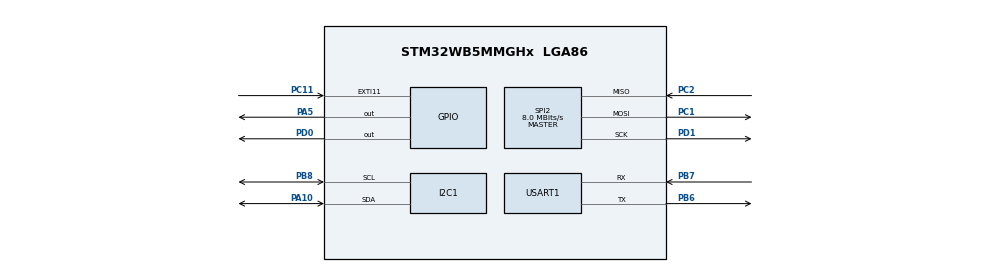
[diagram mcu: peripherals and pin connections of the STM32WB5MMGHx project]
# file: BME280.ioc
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I2C1.Timing=0x10B17DB5
Mcu.Family=STM32WB
Mcu.Name=STM32WB5MMGHx
Mcu.Package=LGA86
NVIC.PriorityGroup=NVIC_PRIORITYGROUP_4
PA10.Mode=I2C
PA10.Signal=I2C1_SDA
PA13.Mode=Serial_Wire
PA13.Signal=SYS_JTMS-SWDIO
PA14.Mode=Serial_Wire
PA14.Signal=SYS_JTCK-SWCLK
PA5.Signal=GPIO_Output
PB6.Mode=Asynchronous
PB6.Signal=USART1_TX
PB7.Mode=Asynchronous
PB7.Signal=USART1_RX
PB8.Mode=I2C
PB8.Signal=I2C1_SCL
PC1.Mode=Full_Duplex_Master
PC1.Signal=SPI2_MOSI
PC11.Signal=GPXTI11
PC2.Mode=Full_Duplex_Master
PC2.Signal=SPI2_MISO
PD0.Signal=GPIO_Output
PD1.Mode=Full_Duplex_Master
PD1.Signal=SPI2_SCK
ProjectManager.HeapSize=0x200
ProjectManager.StackSize=0x400
ProjectManager.TargetToolchain=STM32CubeIDE
RCC.ADCFreq_Value=48000000
RCC.AHB2CLKDivider=RCC_SYSCLK_DIV2
RCC.AHBFreq_Value=64000000
RCC.APB1Freq_Value=64000000
RCC.APB1TimFreq_Value=64000000
RCC.APB2Freq_Value=64000000
RCC.APB2TimFreq_Value=64000000
RCC.APB3Freq_Value=16000000
RCC.Cortex2_Div=SYSTICK_CLKSOURCE_HCLK_DIV8
RCC.CortexFreq_Value=64000000
RCC.HCLKFreq_Value=64000000
RCC.HSE_VALUE=32000000
RCC.HSI48_VALUE=48000000
RCC.HSI_VALUE=16000000
RCC.PLLN=32
RCC.PLLSAI1N=24
RCC.SYSCLKFreq_VALUE=64000000
RCC.SYSCLKSource=RCC_SYSCLKSOURCE_PLLCLK
RCC.USBFreq_Value=48000000
RCC.VCOOutputFreq_Value=128000000
SPI2.BaudRatePrescaler=SPI_BAUDRATEPRESCALER_8
SPI2.CalculateBaudRate=8.0 MBits/s
SPI2.DataSize=SPI_DATASIZE_8BIT
SPI2.Direction=SPI_DIRECTION_2LINES
SPI2.Mode=SPI_MODE_MASTER
SPI2.VirtualType=VM_MASTER
USART1.VirtualMode-Asynchronous=VM_ASYNC
VP_MEMORYMAP_VS_MEMORYMAP.Mode=CurAppReg
board=STM32WB5MM-DK

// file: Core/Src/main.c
/* USER CODE BEGIN Header */
/**
  ******************************************************************************
  * @file           : main.c
  * @brief          : Main program body
  ******************************************************************************
  * @attention
  *
  * Copyright (c) 2025 STMicroelectronics.
  * All rights reserved.
  *
  * This software is licensed under terms that can be found in the LICENSE file
  * in the root directory of this software component.
  * If no LICENSE file comes with this software, it is provided AS-IS.
  *
  ******************************************************************************
  */
/* USER CODE END Header */
#include "main.h"

/* USER CODE BEGIN Includes */
#include "bme280.h"  // Include the new BMP280 header file
#include "rfm95.h"
//#include "lorawan.h"

#include <stdio.h>
#include <stdint.h>
#include <string.h>

/* USER CODE END Includes */

/* USER CODE BEGIN PD */

//Registers store the temperature value (MSB, LSB, XLSB) - Data registers, read only.
//Without filter, resolution depends on osrs_t else it is always 20 bits
#define temp_xlsb 0xFC //Contains the XLSB part ut[3:0] of the raw temperature measurement output data, depends on pressure resolution
#define temp_lsb 0xFB //Contains the LSB part ut[11:4] of the raw temperature measurement output data
#define temp_msb 0xFA //Contains the MSB part ut[19:12] of the raw temperature measurement output data

//Without filter, resolution depends on osrs_p else it is always 20 bits
#define press_xslb 0xF9 //Contains the XLSB part up[3:0] of the raw pressure measurement output data, depends on temperature resolution
#define press_lsb 0xF8 //Contains the LSB part up[11:4] of the raw pressure measurement output data
#define press_msb 0xF7 //Contains the MSB part up[19:12] of the raw pressure measurement output data

//#define hum_xslb 0xF9
#define hum_lsb 0xFE //Contains the LSB part uh[7:0] of the raw humidity measurement output data
#define hum_msb 0xFD //Contains the MSB part uh[15:8] of the raw humidity measurement output data

#define config 0xF5 //Sets the rate, filter and interface options of the device, read/write except in bit1 does not change (reserved)
#define ctrl_meas 0xF4  //Sets the pressure and temperature data acquisition options on the device, read/write

#define status 0xF3 //Contains two bits that indicate status of the device, read only
#define reset 0xE0 //Contains soft reset word reset[7:0], write only
#define id 0xD0 //Chip identification number chip_id[0x60], read only

//Calibration data registers (read only) which store the factory calibration data for calculating the final value of pressure and temperature.
#define cal25 0xA1
#define cal24 0xA0
#define cal23 0x9F
#define cal22 0x9E
#define cal21 0x9D
#define cal20 0x9C
#define cal19 0x9B
#define cal18 0x9A
#define cal17 0x99
#define cal16 0x98
#define cal15 0x97
#define cal14 0x96
#define cal13 0x95
#define cal12 0x94
#define cal11 0x93
#define cal10 0x92
#define cal09 0x91
#define cal08 0x90
#define cal07 0x8F
#define cal06 0x8E
#define cal05 0x8D
#define cal04 0x8C
#define cal03 0x8B
#define cal02 0x8A
#define cal01 0x89
#define cal00 0x88
/* USER CODE END PD */

I2C_HandleTypeDef hi2c1;

SPI_HandleTypeDef hspi2;

UART_HandleTypeDef huart1;

/* USER CODE BEGIN PV */
uint32_t devAddr = 0x0154780C;

uint8_t nwkSKey[16] = { 0xE3, 0xB0, 0x39, 0x08, 0xEE, 0xC6, 0xEA, 0x53,
                        0x1A, 0xF1, 0x0A, 0x8B, 0x8B, 0xD6, 0x34, 0x91 };

uint8_t appSKey[16] = { 0xC1, 0xD8, 0xCF, 0x67, 0x74, 0xC4, 0x99, 0x5F,
                        0xF6, 0x54, 0x50, 0x27, 0x81, 0xBD, 0xD4, 0x12 };

uint32_t frameCounter = 0;

/* USER CODE END PV */

void SystemClock_Config(void);
void PeriphCommonClock_Config(void);
static void MX_GPIO_Init(void);
static void MX_I2C1_Init(void);
static void MX_USART1_UART_Init(void);
static void MX_SPI2_Init(void);

int main(void)
{

  /* MCU Configuration--------------------------------------------------------*/

  /* Reset of all peripherals, Initializes the Flash interface and the Systick. */
  HAL_Init();

  /* Configure the system clock */
  SystemClock_Config();

  /* Configure the peripherals common clocks */
  PeriphCommonClock_Config();

  /* Initialize all configured peripherals */
  MX_GPIO_Init();
  MX_I2C1_Init();
  MX_USART1_UART_Init();
  MX_SPI2_Init();
  /* USER CODE BEGIN 2 */

  //RFM95_Reset();  // Reset module first
  HAL_Delay(200); // Stabilize
  RFM95_Reset();
  RFM95_Init(); // Init LoRa
  RFM95_SetFrequency(868100000); // Set Frequency for Europe
  RFM95_SetTxPower(14); // Max power (adjust if needed)

  // Enable interrupts (if needed for DIO0 or other IRQ lines)
  __enable_irq();

  /* USER CODE END 2 */

  /* Infinite loop */
  /* USER CODE BEGIN WHILE */
  //uint8_t chipID = 0;

  //Writes configuration values to the ctrl_meas register, setting the measurement mode
  uint8_t BMP280_Config[2]={0xB3,0xA0};
  HAL_I2C_Mem_Write(&hi2c1, DEVICE_ADDRESS_L,ctrl_meas,1,BMP280_Config,2,0x10000);

  /* Read Calibration Data */
  read_calibration_data(&hi2c1);

  // Initialize LoRaWAN frame counter (if using ABP)
  frameCounter = 0;

  // Debug print to UART
  char startMsg[] = "System Initialized. Starting sensor + LoRaWAN...\r\n";
  HAL_UART_Transmit(&huart1, (uint8_t*)startMsg, strlen(startMsg), 100);

  /* USER CODE BEGIN WHILE */
  while (1)
  {

    /* USER CODE END WHILE */

    /* USER CODE BEGIN 3 */

      HAL_Delay(1000);  // Update data every 1 second

      // Read Raw Temperature
      uint8_t temp_data[3], press_data[3], hum_data[2];

      unsigned char temp_reg = 0xFA;
      unsigned char press_reg = 0xF7;
      unsigned char hum_reg = 0xFD;

      // Read Raw temperature
      HAL_I2C_Master_Transmit(&hi2c1, DEVICE_ADDRESS_L, &temp_reg, 1, 500);
      HAL_I2C_Master_Receive(&hi2c1, DEVICE_ADDRESS_L | 0x01, temp_data, 3, 500);
      // Read Raw Pressure
      HAL_I2C_Master_Transmit(&hi2c1, DEVICE_ADDRESS_L, &press_reg, 1, 500);
      HAL_I2C_Master_Receive(&hi2c1, DEVICE_ADDRESS_L | 0x01, press_data, 3, 500);
      // Read Raw Humidity
      HAL_I2C_Master_Transmit(&hi2c1, DEVICE_ADDRESS_L, &hum_reg, 1, 500);
      HAL_I2C_Master_Receive(&hi2c1, DEVICE_ADDRESS_L | 0x01, hum_data, 2, 500);

      // Convert raw data (20-bit value)
      int32_t raw_temp = ((int32_t)temp_data[0] << 12) | ((int32_t)temp_data[1] << 4) | (temp_data[2] >> 4);
      int32_t raw_press = ((int32_t)press_data[0] << 12) | ((int32_t)press_data[1] << 4) | (press_data[2] >> 4);
      int32_t raw_hum = ((int32_t)hum_data[0] << 8) | hum_data[1];

      float temp = compensate_temperature(raw_temp);
      float pressure = compensate_pressure(raw_press);
      float humidity = compensate_humidity(raw_hum);

      // Format data for LoRaWAN (scale and pack)
      int16_t temp_int = (int16_t)(temp * 100);
      uint16_t hum_int = (uint16_t)(humidity * 100);
      uint16_t press_int = (uint16_t)(pressure * 10);

      uint8_t payload[6];
      payload[0] = (temp_int >> 8) & 0xFF;
      payload[1] = temp_int & 0xFF;
      payload[2] = (hum_int >> 8) & 0xFF;
      payload[3] = hum_int & 0xFF;
      payload[4] = (press_int >> 8) & 0xFF;
      payload[5] = press_int & 0xFF;

      // Debug print
      char buffer[128];
      sprintf(buffer, "T: %.2f C, H: %.2f %%, P: %.2f hPa\r\n", temp, humidity, pressure);
      HAL_UART_Transmit(&huart1, (uint8_t*)buffer, strlen(buffer), 100);

      // Create and send LoRaWAN packet
      uint8_t packet[64];
      frameCounter++;
      uint8_t packet_len = LoRaWAN_CreatePacket_ABP(devAddr, nwkSKey, appSKey, payload, sizeof(payload), packet, frameCounter);

      RFM95_Send(packet, packet_len);
      HAL_UART_Transmit(&huart1, (uint8_t *)"Packet Sent\r\n", strlen("Packet Sent\r\n"), 100);
  }

  /* USER CODE END 3 */
}

void SystemClock_Config(void)
{
  RCC_OscInitTypeDef RCC_OscInitStruct = {0};
  RCC_ClkInitTypeDef RCC_ClkInitStruct = {0};

  /** Configure the main internal regulator output voltage
  */
  __HAL_PWR_VOLTAGESCALING_CONFIG(PWR_REGULATOR_VOLTAGE_SCALE1);

  /** Initializes the RCC Oscillators according to the specified parameters
  * in the RCC_OscInitTypeDef structure.
  */
  RCC_OscInitStruct.OscillatorType = RCC_OSCILLATORTYPE_HSI|RCC_OSCILLATORTYPE_MSI;
  RCC_OscInitStruct.HSIState = RCC_HSI_ON;
  RCC_OscInitStruct.MSIState = RCC_MSI_ON;
  RCC_OscInitStruct.HSICalibrationValue = RCC_HSICALIBRATION_DEFAULT;
  RCC_OscInitStruct.MSICalibrationValue = RCC_MSICALIBRATION_DEFAULT;
  RCC_OscInitStruct.MSIClockRange = RCC_MSIRANGE_6;
  RCC_OscInitStruct.PLL.PLLState = RCC_PLL_ON;
  RCC_OscInitStruct.PLL.PLLSource = RCC_PLLSOURCE_MSI;
  RCC_OscInitStruct.PLL.PLLM = RCC_PLLM_DIV1;
  RCC_OscInitStruct.PLL.PLLN = 32;
  RCC_OscInitStruct.PLL.PLLP = RCC_PLLP_DIV2;
  RCC_OscInitStruct.PLL.PLLR = RCC_PLLR_DIV2;
  RCC_OscInitStruct.PLL.PLLQ = RCC_PLLQ_DIV2;
  if (HAL_RCC_OscConfig(&RCC_OscInitStruct) != HAL_OK)
  {
    Error_Handler();
  }

  /** Configure the SYSCLKSource, HCLK, PCLK1 and PCLK2 clocks dividers
  */
  RCC_ClkInitStruct.ClockType = RCC_CLOCKTYPE_HCLK4|RCC_CLOCKTYPE_HCLK2
                              |RCC_CLOCKTYPE_HCLK|RCC_CLOCKTYPE_SYSCLK
                              |RCC_CLOCKTYPE_PCLK1|RCC_CLOCKTYPE_PCLK2;
  RCC_ClkInitStruct.SYSCLKSource = RCC_SYSCLKSOURCE_PLLCLK;
  RCC_ClkInitStruct.AHBCLKDivider = RCC_SYSCLK_DIV1;
  RCC_ClkInitStruct.APB1CLKDivider = RCC_HCLK_DIV1;
  RCC_ClkInitStruct.APB2CLKDivider = RCC_HCLK_DIV1;
  RCC_ClkInitStruct.AHBCLK2Divider = RCC_SYSCLK_DIV2;
  RCC_ClkInitStruct.AHBCLK4Divider = RCC_SYSCLK_DIV1;

  if (HAL_RCC_ClockConfig(&RCC_ClkInitStruct, FLASH_LATENCY_3) != HAL_OK)
  {
    Error_Handler();
  }
}

void PeriphCommonClock_Config(void)
{
  RCC_PeriphCLKInitTypeDef PeriphClkInitStruct = {0};

  /** Initializes the peripherals clock
  */
  PeriphClkInitStruct.PeriphClockSelection = RCC_PERIPHCLK_SMPS;
  PeriphClkInitStruct.SmpsClockSelection = RCC_SMPSCLKSOURCE_HSI;
  PeriphClkInitStruct.SmpsDivSelection = RCC_SMPSCLKDIV_RANGE1;

  if (HAL_RCCEx_PeriphCLKConfig(&PeriphClkInitStruct) != HAL_OK)
  {
    Error_Handler();
  }
}

static void MX_I2C1_Init(void)
{

  hi2c1.Instance = I2C1;
  hi2c1.Init.Timing = 0x10B17DB5;
  hi2c1.Init.OwnAddress1 = 0;
  hi2c1.Init.AddressingMode = I2C_ADDRESSINGMODE_7BIT;
  hi2c1.Init.DualAddressMode = I2C_DUALADDRESS_DISABLE;
  hi2c1.Init.OwnAddress2 = 0;
  hi2c1.Init.OwnAddress2Masks = I2C_OA2_NOMASK;
  hi2c1.Init.GeneralCallMode = I2C_GENERALCALL_DISABLE;
  hi2c1.Init.NoStretchMode = I2C_NOSTRETCH_DISABLE;
  if (HAL_I2C_Init(&hi2c1) != HAL_OK)
  {
    Error_Handler();
  }

  /** Configure Analogue filter
  */
  if (HAL_I2CEx_ConfigAnalogFilter(&hi2c1, I2C_ANALOGFILTER_ENABLE) != HAL_OK)
  {
    Error_Handler();
  }

  /** Configure Digital filter
  */
  if (HAL_I2CEx_ConfigDigitalFilter(&hi2c1, 0) != HAL_OK)
  {
    Error_Handler();
  }

}

static void MX_SPI2_Init(void)
{

  /* SPI2 parameter configuration*/
  hspi2.Instance = SPI2;
  hspi2.Init.Mode = SPI_MODE_MASTER;
  hspi2.Init.Direction = SPI_DIRECTION_2LINES;
  hspi2.Init.DataSize = SPI_DATASIZE_8BIT;
  hspi2.Init.CLKPolarity = SPI_POLARITY_LOW;
  hspi2.Init.CLKPhase = SPI_PHASE_1EDGE;
  hspi2.Init.NSS = SPI_NSS_SOFT;
  hspi2.Init.BaudRatePrescaler = SPI_BAUDRATEPRESCALER_8;
  hspi2.Init.FirstBit = SPI_FIRSTBIT_MSB;
  hspi2.Init.TIMode = SPI_TIMODE_DISABLE;
  hspi2.Init.CRCCalculation = SPI_CRCCALCULATION_DISABLE;
  hspi2.Init.CRCPolynomial = 7;
  hspi2.Init.CRCLength = SPI_CRC_LENGTH_DATASIZE;
  hspi2.Init.NSSPMode = SPI_NSS_PULSE_ENABLE;
  if (HAL_SPI_Init(&hspi2) != HAL_OK)
  {
    Error_Handler();
  }

}

static void MX_USART1_UART_Init(void)
{

  huart1.Instance = USART1;
  huart1.Init.BaudRate = 115200;
  huart1.Init.WordLength = UART_WORDLENGTH_8B;
  huart1.Init.StopBits = UART_STOPBITS_1;
  huart1.Init.Parity = UART_PARITY_NONE;
  huart1.Init.Mode = UART_MODE_TX_RX;
  huart1.Init.HwFlowCtl = UART_HWCONTROL_NONE;
  huart1.Init.OverSampling = UART_OVERSAMPLING_16;
  huart1.Init.OneBitSampling = UART_ONE_BIT_SAMPLE_DISABLE;
  huart1.Init.ClockPrescaler = UART_PRESCALER_DIV1;
  huart1.AdvancedInit.AdvFeatureInit = UART_ADVFEATURE_NO_INIT;
  if (HAL_UART_Init(&huart1) != HAL_OK)
  {
    Error_Handler();
  }
  if (HAL_UARTEx_SetTxFifoThreshold(&huart1, UART_TXFIFO_THRESHOLD_1_8) != HAL_OK)
  {
    Error_Handler();
  }
  if (HAL_UARTEx_SetRxFifoThreshold(&huart1, UART_RXFIFO_THRESHOLD_1_8) != HAL_OK)
  {
    Error_Handler();
  }
  if (HAL_UARTEx_DisableFifoMode(&huart1) != HAL_OK)
  {
    Error_Handler();
  }

}

static void MX_GPIO_Init(void)
{
  GPIO_InitTypeDef GPIO_InitStruct = {0};

  /* GPIO Ports Clock Enable */
  __HAL_RCC_GPIOC_CLK_ENABLE();
  __HAL_RCC_GPIOB_CLK_ENABLE();
  __HAL_RCC_GPIOA_CLK_ENABLE();
  __HAL_RCC_GPIOD_CLK_ENABLE();

  /*Configure GPIO pin Output Level */
  HAL_GPIO_WritePin(GPIOD, GPIO_PIN_0, GPIO_PIN_RESET);

  /*Configure GPIO pin Output Level */
  HAL_GPIO_WritePin(GPIOA, GPIO_PIN_5, GPIO_PIN_RESET);

  /*Configure GPIO pin : PC11 */
  GPIO_InitStruct.Pin = GPIO_PIN_11;
  GPIO_InitStruct.Mode = GPIO_MODE_IT_RISING;
  GPIO_InitStruct.Pull = GPIO_NOPULL;
  HAL_GPIO_Init(GPIOC, &GPIO_InitStruct);

  /*Configure GPIO pin : PD0 */
  GPIO_InitStruct.Pin = GPIO_PIN_0;
  GPIO_InitStruct.Mode = GPIO_MODE_OUTPUT_PP;
  GPIO_InitStruct.Pull = GPIO_NOPULL;
  GPIO_InitStruct.Speed = GPIO_SPEED_FREQ_LOW;
  HAL_GPIO_Init(GPIOD, &GPIO_InitStruct);

  /*Configure GPIO pin : PA5 */
  GPIO_InitStruct.Pin = GPIO_PIN_5;
  GPIO_InitStruct.Mode = GPIO_MODE_OUTPUT_PP;
  GPIO_InitStruct.Pull = GPIO_NOPULL;
  GPIO_InitStruct.Speed = GPIO_SPEED_FREQ_LOW;
  HAL_GPIO_Init(GPIOA, &GPIO_InitStruct);

}

/* USER CODE BEGIN 4 */

// This function gets called automatically when an EXTI interrupt occurs
void HAL_GPIO_EXTI_Callback(uint16_t GPIO_Pin)
{
    if (GPIO_Pin == GPIO_PIN_11) // Check if interrupt came from PC11 (RFM95 DIO0)
    {
        // Handle TX_DONE or RX_DONE
        char msg[] = "LoRa event detected on G0!\r\n";
        HAL_UART_Transmit(&huart1, (uint8_t *)msg, strlen(msg), 100);

        // TODO: Call your LoRaWAN stack or custom handler here
        // Example: LoRa_HandleDio0Interrupt(); // if such function exists
    }
}

/* USER CODE END 4 */

void Error_Handler(void)
{
  __disable_irq();
  while (1)
  {
  }
}
